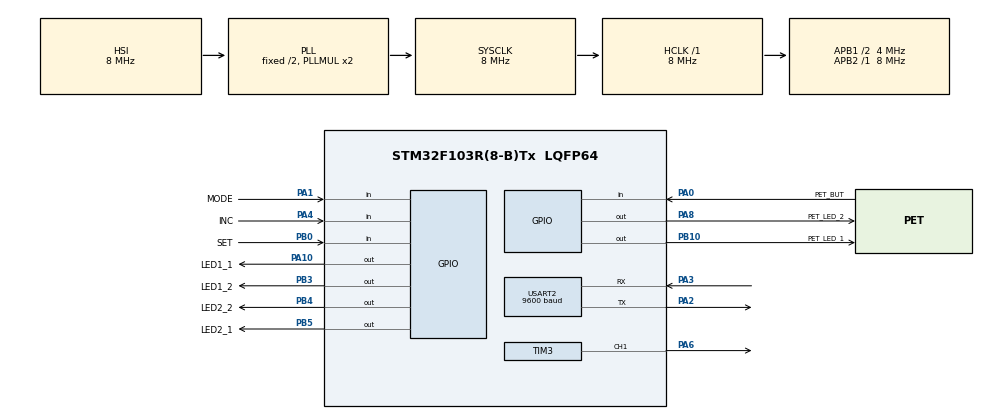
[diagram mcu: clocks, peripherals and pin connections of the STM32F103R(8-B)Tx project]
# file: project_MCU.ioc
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Mcu.Family=STM32F1
Mcu.Name=STM32F103R(8-B)Tx
Mcu.Package=LQFP64
NVIC.PriorityGroup=NVIC_PRIORITYGROUP_4
NVIC.TIM2_IRQn=true\:0\:0\:false\:false\:true\:true\:true
NVIC.USART2_IRQn=true\:0\:0\:false\:false\:true\:true\:true
PA0-WKUP.GPIO_Label=PET_BUT
PA0-WKUP.GPIO_PuPd=GPIO_PULLUP
PA0-WKUP.Signal=GPIO_Input
PA1.GPIO_Label=MODE
PA1.GPIO_PuPd=GPIO_PULLUP
PA1.Signal=GPIO_Input
PA10.GPIO_Label=LED1_1
PA10.Signal=GPIO_Output
PA13.Mode=Serial_Wire
PA13.Signal=SYS_JTMS-SWDIO
PA14.Mode=Serial_Wire
PA14.Signal=SYS_JTCK-SWCLK
PA2.Mode=Asynchronous
PA2.Signal=USART2_TX
PA3.Mode=Asynchronous
PA3.Signal=USART2_RX
PA4.GPIO_Label=INC
PA4.GPIO_PuPd=GPIO_PULLUP
PA4.Signal=GPIO_Input
PA6.Signal=S_TIM3_CH1
PA8.GPIO_Label=PET_LED_2
PA8.Signal=GPIO_Output
PB0.GPIO_Label=SET
PB0.GPIO_PuPd=GPIO_PULLUP
PB0.Signal=GPIO_Input
PB10.GPIO_Label=PET_LED_1
PB10.Signal=GPIO_Output
PB3.GPIO_Label=LED1_2
PB3.Signal=GPIO_Output
PB4.GPIO_Label=LED2_2
PB4.Signal=GPIO_Output
PB5.GPIO_Label=LED2_1
PB5.Signal=GPIO_Output
ProjectManager.HeapSize=0x200
ProjectManager.StackSize=0x400
ProjectManager.TargetToolchain=STM32CubeIDE
RCC.AHBFreq_Value=8000000
RCC.APB1CLKDivider=RCC_HCLK_DIV2
RCC.APB1Freq_Value=4000000
RCC.APB1TimFreq_Value=8000000
RCC.APB2Freq_Value=8000000
RCC.APB2TimFreq_Value=8000000
RCC.HCLKFreq_Value=8000000
RCC.SYSCLKFreq_VALUE=8000000
RCC.SYSCLKSource=RCC_SYSCLKSOURCE_PLLCLK
RCC.USBFreq_Value=8000000
SH.S_TIM3_CH1.0=TIM3_CH1,PWM Generation1 CH1
TIM2.Period=9
TIM2.Prescaler=7999
TIM3.Channel-PWM\ Generation1\ CH1=TIM_CHANNEL_1
TIM3.Period=99
TIM3.Prescaler=63
USART2.BaudRate=9600
USART2.VirtualMode=VM_ASYNC
VP_TIM2_VS_ClockSourceINT.Mode=Internal
VP_TIM3_VS_ClockSourceINT.Mode=Internal
board=custom

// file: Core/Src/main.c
/* USER CODE BEGIN Header */
/**
  ******************************************************************************
  * @file           : main.c
  * @brief          : Main program body
  ******************************************************************************
  * @attention
  *
  * <h2><center>&copy; Copyright (c) 2023 STMicroelectronics.
  * All rights reserved.</center></h2>
  *
  * This software component is licensed by ST under BSD 3-Clause license,
  * the "License"; You may not use this file except in compliance with the
  * License. You may obtain a copy of the License at:
  *                        opensource.org/licenses/BSD-3-Clause
  *
  ******************************************************************************
  */
/* USER CODE END Header */
#include "main.h"

/* USER CODE BEGIN Includes */
#include "fsm_traffic_light.h"
#include "fsm_manual.h"
#include "ped_fsm.h"
#include "ped_manual.h"
#include "buzzer.h"
#include "traffic_no_time.h"
/* USER CODE END Includes */

TIM_HandleTypeDef htim2;
TIM_HandleTypeDef htim3;

UART_HandleTypeDef huart2;

void SystemClock_Config(void);
static void MX_GPIO_Init(void);
static void MX_TIM2_Init(void);
static void MX_USART2_UART_Init(void);
static void MX_TIM3_Init(void);

int main(void)
{

  /* MCU Configuration--------------------------------------------------------*/

  /* Reset of all peripherals, Initializes the Flash interface and the Systick. */
  HAL_Init();

  /* Configure the system clock */
  SystemClock_Config();

  /* Initialize all configured peripherals */
  MX_GPIO_Init();
  MX_TIM2_Init();
  MX_USART2_UART_Init();
  MX_TIM3_Init();
  /* USER CODE BEGIN 2 */
  HAL_TIM_Base_Start_IT(&htim2);
  HAL_TIM_PWM_Start(&htim3, TIM_CHANNEL_1);
//  SCH_Init();

  //TASK INIT
  SCH_Add_Task(timerRun, 0, 1);
  SCH_Add_Task(getKeyInput, 0, 1);
  SCH_Add_Task(fsm_traffic_light, 0, 1);
  SCH_Add_Task(fsm_manual_run, 0, 1);
  SCH_Add_Task(ped_fsm, 0, 1);
  SCH_Add_Task(sendUART, 0, 100);
  SCH_Add_Task(traffic_no_time, 0, 1);
//  SCH_Add_Task(pedestrian_manual_fsm, 0, 1);
  setTimer3(50);
//  setTimer6(100);
//  int test = 0;
  /* USER CODE END 2 */

  /* Infinite loop */
  /* USER CODE BEGIN WHILE */
  while (1)
  {
//	  if (timer6_flag){
//		  if (test) offALL();
//		  else onRED1();
//		  setTimer6(100);
//		  test = 1 - test;
//	  }
//	  __HAL_TIM_SetCompare (&htim3,TIM_CHANNEL_1,1);
	  SCH_Dispatch_Tasks();
//	  __HAL_TIM_SetCompare (&htim3,TIM_CHANNEL_1,10);
//	  HAL_Delay(1000);
//	  __HAL_TIM_SetCompare (&htim3,TIM_CHANNEL_1,100);
//	  HAL_Delay(1000);
    /* USER CODE END WHILE */

  }
}

void SystemClock_Config(void)
{
  RCC_OscInitTypeDef RCC_OscInitStruct = {0};
  RCC_ClkInitTypeDef RCC_ClkInitStruct = {0};

  /** Initializes the RCC Oscillators according to the specified parameters
  * in the RCC_OscInitTypeDef structure.
  */
  RCC_OscInitStruct.OscillatorType = RCC_OSCILLATORTYPE_HSI;
  RCC_OscInitStruct.HSIState = RCC_HSI_ON;
  RCC_OscInitStruct.HSICalibrationValue = RCC_HSICALIBRATION_DEFAULT;
  RCC_OscInitStruct.PLL.PLLState = RCC_PLL_ON;
  RCC_OscInitStruct.PLL.PLLSource = RCC_PLLSOURCE_HSI_DIV2;
  RCC_OscInitStruct.PLL.PLLMUL = RCC_PLL_MUL2;
  if (HAL_RCC_OscConfig(&RCC_OscInitStruct) != HAL_OK)
  {
    Error_Handler();
  }
  /** Initializes the CPU, AHB and APB buses clocks
  */
  RCC_ClkInitStruct.ClockType = RCC_CLOCKTYPE_HCLK|RCC_CLOCKTYPE_SYSCLK
                              |RCC_CLOCKTYPE_PCLK1|RCC_CLOCKTYPE_PCLK2;
  RCC_ClkInitStruct.SYSCLKSource = RCC_SYSCLKSOURCE_PLLCLK;
  RCC_ClkInitStruct.AHBCLKDivider = RCC_SYSCLK_DIV1;
  RCC_ClkInitStruct.APB1CLKDivider = RCC_HCLK_DIV2;
  RCC_ClkInitStruct.APB2CLKDivider = RCC_HCLK_DIV1;

  if (HAL_RCC_ClockConfig(&RCC_ClkInitStruct, FLASH_LATENCY_0) != HAL_OK)
  {
    Error_Handler();
  }
}

static void MX_TIM2_Init(void)
{

  TIM_ClockConfigTypeDef sClockSourceConfig = {0};
  TIM_MasterConfigTypeDef sMasterConfig = {0};

  htim2.Instance = TIM2;
  htim2.Init.Prescaler = 7999;
  htim2.Init.CounterMode = TIM_COUNTERMODE_UP;
  htim2.Init.Period = 9;
  htim2.Init.ClockDivision = TIM_CLOCKDIVISION_DIV1;
  htim2.Init.AutoReloadPreload = TIM_AUTORELOAD_PRELOAD_DISABLE;
  if (HAL_TIM_Base_Init(&htim2) != HAL_OK)
  {
    Error_Handler();
  }
  sClockSourceConfig.ClockSource = TIM_CLOCKSOURCE_INTERNAL;
  if (HAL_TIM_ConfigClockSource(&htim2, &sClockSourceConfig) != HAL_OK)
  {
    Error_Handler();
  }
  sMasterConfig.MasterOutputTrigger = TIM_TRGO_RESET;
  sMasterConfig.MasterSlaveMode = TIM_MASTERSLAVEMODE_DISABLE;
  if (HAL_TIMEx_MasterConfigSynchronization(&htim2, &sMasterConfig) != HAL_OK)
  {
    Error_Handler();
  }

}

static void MX_TIM3_Init(void)
{

  TIM_ClockConfigTypeDef sClockSourceConfig = {0};
  TIM_MasterConfigTypeDef sMasterConfig = {0};
  TIM_OC_InitTypeDef sConfigOC = {0};

  htim3.Instance = TIM3;
  htim3.Init.Prescaler = 63;
  htim3.Init.CounterMode = TIM_COUNTERMODE_UP;
  htim3.Init.Period = 99;
  htim3.Init.ClockDivision = TIM_CLOCKDIVISION_DIV1;
  htim3.Init.AutoReloadPreload = TIM_AUTORELOAD_PRELOAD_DISABLE;
  if (HAL_TIM_Base_Init(&htim3) != HAL_OK)
  {
    Error_Handler();
  }
  sClockSourceConfig.ClockSource = TIM_CLOCKSOURCE_INTERNAL;
  if (HAL_TIM_ConfigClockSource(&htim3, &sClockSourceConfig) != HAL_OK)
  {
    Error_Handler();
  }
  if (HAL_TIM_PWM_Init(&htim3) != HAL_OK)
  {
    Error_Handler();
  }
  sMasterConfig.MasterOutputTrigger = TIM_TRGO_RESET;
  sMasterConfig.MasterSlaveMode = TIM_MASTERSLAVEMODE_DISABLE;
  if (HAL_TIMEx_MasterConfigSynchronization(&htim3, &sMasterConfig) != HAL_OK)
  {
    Error_Handler();
  }
  sConfigOC.OCMode = TIM_OCMODE_PWM1;
  sConfigOC.Pulse = 0;
  sConfigOC.OCPolarity = TIM_OCPOLARITY_HIGH;
  sConfigOC.OCFastMode = TIM_OCFAST_DISABLE;
  if (HAL_TIM_PWM_ConfigChannel(&htim3, &sConfigOC, TIM_CHANNEL_1) != HAL_OK)
  {
    Error_Handler();
  }
  HAL_TIM_MspPostInit(&htim3);

}

static void MX_USART2_UART_Init(void)
{

  huart2.Instance = USART2;
  huart2.Init.BaudRate = 9600;
  huart2.Init.WordLength = UART_WORDLENGTH_8B;
  huart2.Init.StopBits = UART_STOPBITS_1;
  huart2.Init.Parity = UART_PARITY_NONE;
  huart2.Init.Mode = UART_MODE_TX_RX;
  huart2.Init.HwFlowCtl = UART_HWCONTROL_NONE;
  huart2.Init.OverSampling = UART_OVERSAMPLING_16;
  if (HAL_UART_Init(&huart2) != HAL_OK)
  {
    Error_Handler();
  }

}

static void MX_GPIO_Init(void)
{
  GPIO_InitTypeDef GPIO_InitStruct = {0};

  /* GPIO Ports Clock Enable */
  __HAL_RCC_GPIOA_CLK_ENABLE();
  __HAL_RCC_GPIOB_CLK_ENABLE();

  /*Configure GPIO pin Output Level */
  HAL_GPIO_WritePin(GPIOB, PET_LED_1_Pin|LED1_2_Pin|LED2_2_Pin|LED2_1_Pin, GPIO_PIN_RESET);

  /*Configure GPIO pin Output Level */
  HAL_GPIO_WritePin(GPIOA, PET_LED_2_Pin|LED1_1_Pin, GPIO_PIN_RESET);

  /*Configure GPIO pins : PET_BUT_Pin MODE_Pin INC_Pin */
  GPIO_InitStruct.Pin = PET_BUT_Pin|MODE_Pin|INC_Pin;
  GPIO_InitStruct.Mode = GPIO_MODE_INPUT;
  GPIO_InitStruct.Pull = GPIO_PULLUP;
  HAL_GPIO_Init(GPIOA, &GPIO_InitStruct);

  /*Configure GPIO pin : SET_Pin */
  GPIO_InitStruct.Pin = SET_Pin;
  GPIO_InitStruct.Mode = GPIO_MODE_INPUT;
  GPIO_InitStruct.Pull = GPIO_PULLUP;
  HAL_GPIO_Init(SET_GPIO_Port, &GPIO_InitStruct);

  /*Configure GPIO pins : PET_LED_1_Pin LED1_2_Pin LED2_2_Pin LED2_1_Pin */
  GPIO_InitStruct.Pin = PET_LED_1_Pin|LED1_2_Pin|LED2_2_Pin|LED2_1_Pin;
  GPIO_InitStruct.Mode = GPIO_MODE_OUTPUT_PP;
  GPIO_InitStruct.Pull = GPIO_NOPULL;
  GPIO_InitStruct.Speed = GPIO_SPEED_FREQ_LOW;
  HAL_GPIO_Init(GPIOB, &GPIO_InitStruct);

  /*Configure GPIO pins : PET_LED_2_Pin LED1_1_Pin */
  GPIO_InitStruct.Pin = PET_LED_2_Pin|LED1_1_Pin;
  GPIO_InitStruct.Mode = GPIO_MODE_OUTPUT_PP;
  GPIO_InitStruct.Pull = GPIO_NOPULL;
  GPIO_InitStruct.Speed = GPIO_SPEED_FREQ_LOW;
  HAL_GPIO_Init(GPIOA, &GPIO_InitStruct);

}

/* USER CODE BEGIN 4 */
void HAL_TIM_PeriodElapsedCallback(TIM_HandleTypeDef *htim){
	SCH_Update();
//	timerRun();
//	getKeyInput();
}
/* USER CODE END 4 */

void Error_Handler(void)
{
  __disable_irq();
  while (1)
  {
  }
}

/************************ (C) COPYRIGHT STMicroelectronics *****END OF FILE****/
